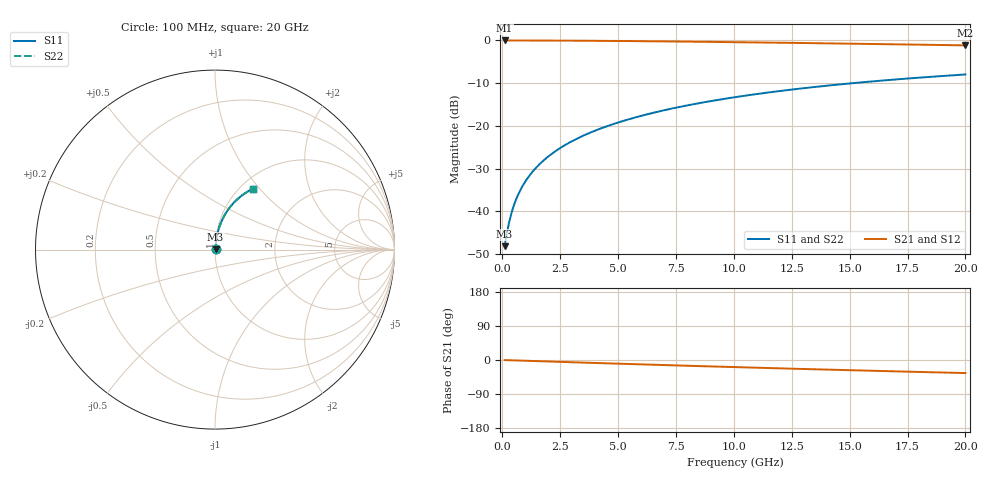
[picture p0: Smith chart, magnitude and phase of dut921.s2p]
! Touchstone file exported from HFSS 2024.1.0
!  File:  C:/UserFiles/LocalFiles/RDL_TSV_Batchsim/temp_RDL_bottom_921_1779940932.aedt
!  Generated:  12:04:34 PM May 28, 2026
!  Design:  RDL_bottom
!  Project:  temp_RDL_bottom_921_1779940932
!  Setup:  Setup1
!  Solution:  Sweep
! Variables:
!  dtsv = 10.80580581um
!  hbump = 3um
!  htsv = 56.79um
!  ldown = 441.11um
!  lrdl = 100um
!  p = 40
!  p1 = 46.29um
!  rhole = 1um
!  t = 450um
!  tdown = 4.05um
!  trdl = 3.915915916um
!  wdown = 12.45um
!  wrdl = 20um
# GHz S MA R 50.000000
! Terminal data exported
! Port[1] = RDL1_T1
! Port[2] = RDL1_T2
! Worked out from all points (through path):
!   200 points, 100 MHz to 20 GHz, reference 50 ohm
!   highest |S21| = -0.03 dB at 100 MHz (marker M1); lowest = -1.2 dB at 20 GHz (marker M2)
!   group delay of S21, straight-line fit = 4.78 ps
!   lowest |S11| = -48.1 dB at 100 MHz (marker M3), VSWR 1.01, Z = 50.3 + j0.23 ohm
!   |S11| at or under -10 dB: start of sweep to 15.16 GHz
!   |S22| runs from -48.1 to -8.0 dB; largest |S21 - S12| = 2e-15
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0.1  0.003918 35.6  0.9968 -0.2  0.9968 -0.2  0.003918 35.6
! Gamma 0 0 0 0
! Port Impedance 50 0 50 0
0.2  0.005587 54.5  0.9967 -0.4  0.9967 -0.4  0.005587 54.5
0.3  0.007564 63.8  0.9967 -0.6  0.9967 -0.6  0.007564 63.8
0.4  0.009643 69.1  0.9965 -0.8  0.9965 -0.8  0.009643 69.1
0.5  0.01176 72.4  0.9964 -1.0  0.9964 -1.0  0.01176 72.4
0.6  0.01389 74.6  0.9963 -1.2  0.9963 -1.2  0.01389 74.6
0.8  0.01817 77.5  0.9961 -1.6  0.9961 -1.6  0.01817 77.5
1.1  0.02463 79.8  0.9957 -2.2  0.9957 -2.2  0.02463 79.9
1.5  0.03328 81.3  0.9951 -3.0  0.9951 -3.0  0.03328 81.3
1.8  0.0398 81.9  0.9945 -3.6  0.9945 -3.6  0.0398 81.9
2.1  0.04632 82.2  0.9938 -4.2  0.9938 -4.2  0.04632 82.2
2.7  0.05938 82.2  0.9922 -5.3  0.9922 -5.3  0.05939 82.2
3.5  0.07681 81.8  0.9895 -6.9  0.9895 -6.9  0.07681 81.8
4.2  0.09203 81.2  0.9867 -8.2  0.9867 -8.2  0.09203 81.2
5  0.1094 80.3  0.983 -9.7  0.983 -9.7  0.1094 80.3
5.9  0.1288 79.1  0.9784 -11.4  0.9784 -11.4  0.1288 79.1
6.8  0.1482 77.9  0.9733 -13.1  0.9733 -13.1  0.1482 77.9
8.3  0.18 75.8  0.964 -15.7  0.964 -15.7  0.18 75.8
10.1  0.2175 73.1  0.9518 -18.9  0.9518 -18.9  0.2175 73.1
13.4  0.2832 68.0  0.9272 -24.4  0.9272 -24.4  0.2832 68.0
16.7  0.3439 63.0  0.9008 -29.6  0.9008 -29.6  0.3439 63.0
20  0.3988 58.2  0.8733 -34.5  0.8733 -34.5  0.3989 58.2
